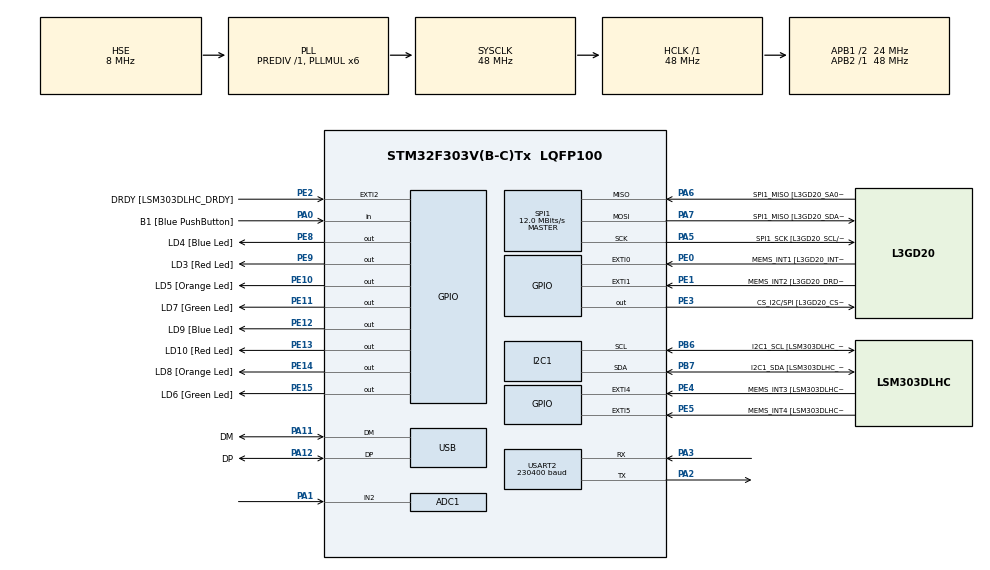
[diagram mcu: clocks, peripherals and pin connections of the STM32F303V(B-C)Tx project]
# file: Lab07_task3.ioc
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ADC1.Channel-0\#ChannelRegularConversion=ADC_CHANNEL_2
ADC1.InjNumberOfConversion=1
ADC1.InjectedChannel-1\#ChannelInjectedConversion=ADC_CHANNEL_2
ADC1.InjectedOffset-1\#ChannelInjectedConversion=0
ADC1.InjectedOffsetNumber-1\#ChannelInjectedConversion=ADC_OFFSET_NONE
ADC1.InjectedRank-1\#ChannelInjectedConversion=1
ADC1.InjectedSamplingTime-1\#ChannelInjectedConversion=ADC_SAMPLETIME_1CYCLE_5
ADC1.InjectedSamplingTimeOPAMP-1\#ChannelInjectedConversion=ADC_SAMPLETIME_19CYCLES_5
ADC1.NbrOfConversionFlag=1
ADC1.Offset-0\#ChannelRegularConversion=0
ADC1.OffsetNumber-0\#ChannelRegularConversion=ADC_OFFSET_NONE
ADC1.Rank-0\#ChannelRegularConversion=1
ADC1.Rank1_Channel=ADC_CHANNEL_2
ADC1.SamplingTime-0\#ChannelRegularConversion=ADC_SAMPLETIME_61CYCLES_5
ADC1.SamplingTimeOPAMP-0\#ChannelRegularConversion=ADC_SAMPLETIME_19CYCLES_5
ADC1.master=1
I2C1.Timing=0x2000090E
I2C1.Timing-I2C=0x2000090E
Mcu.Family=STM32F3
Mcu.Name=STM32F303V(B-C)Tx
Mcu.Package=LQFP100
NVIC.PriorityGroup=NVIC_PRIORITYGROUP_0
PA0.GPIO_Label=B1 [Blue PushButton]
PA0.Signal=GPIO_Input
PA1.Mode=IN2-Single-Ended
PA1.Signal=ADC1_IN2
PA11.GPIO_Label=DM
PA11.Mode=Device
PA11.Signal=USB_DM
PA12.GPIO_Label=DP
PA12.Mode=Device
PA12.Signal=USB_DP
PA13.GPIO_Label=SWDIO
PA13.Mode=Serial_Wire
PA13.Signal=SYS_JTMS-SWDIO
PA14.GPIO_Label=SWCLK
PA14.Mode=Serial_Wire
PA14.Signal=SYS_JTCK-SWCLK
PA2.Mode=Asynchronous
PA2.Signal=USART2_TX
PA3.Mode=Asynchronous
PA3.Signal=USART2_RX
PA5.GPIO_Label=SPI1_SCK [L3GD20_SCL/SPC]
PA5.Mode=Full_Duplex_Master
PA5.Signal=SPI1_SCK
PA6.GPIO_Label=SPI1_MISO [L3GD20_SA0/SDO]
PA6.Mode=Full_Duplex_Master
PA6.Signal=SPI1_MISO
PA7.GPIO_Label=SPI1_MISO [L3GD20_SDA/SDI/SDO]
PA7.Mode=Full_Duplex_Master
PA7.Signal=SPI1_MOSI
PB3.GPIO_Label=SWO
PB3.Signal=SYS_JTDO-TRACESWO
PB6.GPIO_Label=I2C1_SCL [LSM303DLHC_SCL]
PB6.GPIO_Pu=GPIO_PULLUP
PB6.Mode=I2C
PB6.Signal=I2C1_SCL
PB7.GPIO_Label=I2C1_SDA [LSM303DLHC_SDA]
PB7.GPIO_Pu=GPIO_PULLUP
PB7.Mode=I2C
PB7.Signal=I2C1_SDA
PC14-OSC32_IN.GPIO_Label=OSC32_IN
PC14-OSC32_IN.Signal=RCC_OSC32_IN
PC15-OSC32_OUT.GPIO_Label=OSC32_OUT
PC15-OSC32_OUT.Signal=RCC_OSC32_OUT
PE0.GPIO_Label=MEMS_INT1 [L3GD20_INT1]
PE0.GPIO_ModeDefaultEXTI=GPIO_MODE_EVT_RISING
PE0.Signal=GPXTI0
PE1.GPIO_Label=MEMS_INT2 [L3GD20_DRDY/INT2]
PE1.GPIO_ModeDefaultEXTI=GPIO_MODE_EVT_RISING
PE1.Signal=GPXTI1
PE10.GPIO_Label=LD5 [Orange Led]
PE10.Signal=GPIO_Output
PE11.GPIO_Label=LD7 [Green Led]
PE11.Signal=GPIO_Output
PE12.GPIO_Label=LD9 [Blue Led]
PE12.Signal=GPIO_Output
PE13.GPIO_Label=LD10 [Red Led]
PE13.Signal=GPIO_Output
PE14.GPIO_Label=LD8 [Orange Led]
PE14.Signal=GPIO_Output
PE15.GPIO_Label=LD6 [Green Led]
PE15.Signal=GPIO_Output
PE2.GPIO_Label=DRDY [LSM303DLHC_DRDY]
PE2.GPIO_ModeDefaultEXTI=GPIO_MODE_EVT_RISING
PE2.Signal=GPXTI2
PE3.GPIO_Label=CS_I2C/SPI [L3GD20_CS_I2C/SPI]
PE3.Signal=GPIO_Output
PE4.GPIO_Label=MEMS_INT3 [LSM303DLHC_INT1]
PE4.GPIO_ModeDefaultEXTI=GPIO_MODE_EVT_RISING
PE4.Signal=GPXTI4
PE5.GPIO_Label=MEMS_INT4 [LSM303DLHC_INT2]
PE5.GPIO_ModeDefaultEXTI=GPIO_MODE_EVT_RISING
PE5.Signal=GPXTI5
PE8.GPIO_Label=LD4 [Blue Led]
PE8.Signal=GPIO_Output
PE9.GPIO_Label=LD3 [Red Led]
PE9.Signal=GPIO_Output
PF0-OSC_IN.GPIO_Label=OSC_IN
PF0-OSC_IN.Mode=HSE-External-Clock-Source
PF0-OSC_IN.Signal=RCC_OSC_IN
PF1-OSC_OUT.GPIO_Label=OSC_OUT
PF1-OSC_OUT.Signal=RCC_OSC_OUT
ProjectManager.HeapSize=0x200
ProjectManager.StackSize=0x400
ProjectManager.TargetToolchain=CMake
RCC.AHBFreq_Value=48000000
RCC.APB1CLKDivider=RCC_HCLK_DIV2
RCC.APB1Freq_Value=24000000
RCC.APB1TimFreq_Value=48000000
RCC.APB2Freq_Value=48000000
RCC.APB2TimFreq_Value=48000000
RCC.CortexFreq_Value=48000000
RCC.HCLKFreq_Value=48000000
RCC.HSE_VALUE=8000000
RCC.HSI_VALUE=8000000
RCC.LSE_VALUE=32768
RCC.PLLMUL=RCC_PLL_MUL6
RCC.SYSCLKFreq_VALUE=48000000
RCC.SYSCLKSourceVirtual=RCC_SYSCLKSOURCE_PLLCLK
RCC.USBFreq_Value=48000000
SPI1.BaudRatePrescaler=SPI_BAUDRATEPRESCALER_4
SPI1.BaudRatePrescaler-Full_Duplex_Master=SPI_BAUDRATEPRESCALER_2
SPI1.CalculateBaudRate=12.0 MBits/s
SPI1.CalculateBaudRate-Full_Duplex_Master=24.0 MBits/s
SPI1.Direction=SPI_DIRECTION_2LINES
SPI1.Mode=SPI_MODE_MASTER
SPI1.Mode-Full_Duplex_Master=SPI_MODE_MASTER
SPI1.VirtualType=VM_MASTER
USART2.BaudRate=230400
USART2.VirtualMode-Asynchronous=VM_ASYNC
board=STM32F3DISCOVERY

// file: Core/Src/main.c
/* USER CODE BEGIN Header */
/**
  ******************************************************************************
  * @file           : main.c
  * @brief          : Main program body
  ******************************************************************************
  * @attention
  *
  * Copyright (c) 2026 STMicroelectronics.
  * All rights reserved.
  *
  * This software is licensed under terms that can be found in the LICENSE file
  * in the root directory of this software component.
  * If no LICENSE file comes with this software, it is provided AS-IS.
  *
  ******************************************************************************
  */
/* USER CODE END Header */
#include "main.h"

/* USER CODE BEGIN Includes */
#include <stdarg.h>
#include <stdio.h>
#include <string.h>
#include <math.h>
/* USER CODE END Includes */

/* USER CODE BEGIN PD */
#define NUM_SAMPLES 8
/* USER CODE END PD */

ADC_HandleTypeDef hadc1;

I2C_HandleTypeDef hi2c1;

SPI_HandleTypeDef hspi1;

UART_HandleTypeDef huart2;

PCD_HandleTypeDef hpcd_USB_FS;

/* USER CODE BEGIN PV */
uint32_t adc_val = 0;
/* USER CODE END PV */

void SystemClock_Config(void);
static void MX_GPIO_Init(void);
static void MX_ADC1_Init(void);
static void MX_I2C1_Init(void);
static void MX_SPI1_Init(void);
static void MX_USART2_UART_Init(void);
static void MX_USB_PCD_Init(void);

/* USER CODE BEGIN 0 */

void myPrintf(const char *fmt, ...)
{
    char buffer[100];
    va_list args;
    va_start(args, fmt);
    vsnprintf(buffer, sizeof(buffer), fmt, args);
    va_end(args);
    HAL_UART_Transmit(&huart2, (uint8_t *)buffer, strlen(buffer), HAL_MAX_DELAY);
}

/* Same polling read as Task 1 */
uint32_t ADC_ReadPolling(void)
{
    HAL_ADC_Start(&hadc1);
    HAL_ADC_PollForConversion(&hadc1, HAL_MAX_DELAY);
    uint32_t val = HAL_ADC_GetValue(&hadc1);
    HAL_ADC_Stop(&hadc1);
    return val;
}

uint32_t ADC_ToMilliVolts(uint32_t raw)
{
    return (raw * 3300) / 4095;
}

/* Average several readings to reduce sensor noise (returns raw ADC counts) */
uint32_t ADC_ReadAveraged(void)
{
    uint32_t sum = 0;
    for (int i = 0; i < NUM_SAMPLES; i++)
    {
        sum += ADC_ReadPolling();
    }
    return sum / NUM_SAMPLES;
}

/* Sharp GP2Y0A02YK0F: approximate distance in cm from sensor voltage in volts.
 * Returns a negative value when out of range (about >150 cm / no object). */
float Sensor_VoltageToCm(float volts)
{
    if (volts < 0.4f)
    {
        return -1.0f;
    }
    return 60.374f * powf(volts, -1.16f);
}

/* USER CODE END 0 */

int main(void)
{

  /* MCU Configuration--------------------------------------------------------*/

  /* Reset of all peripherals, Initializes the Flash interface and the Systick. */
  HAL_Init();

  /* Configure the system clock */
  SystemClock_Config();

  /* Initialize all configured peripherals */
  MX_GPIO_Init();
  MX_ADC1_Init();
  MX_I2C1_Init();
  MX_SPI1_Init();
  MX_USART2_UART_Init();
  MX_USB_PCD_Init();
  /* USER CODE BEGIN 2 */
  HAL_ADCEx_Calibration_Start(&hadc1, ADC_SINGLE_ENDED);
  myPrintf("Lab 7 started\r\n");
  /* USER CODE END 2 */

  /* Infinite loop */
  while (1)
  {

    /* USER CODE BEGIN 3 */
    adc_val = ADC_ReadAveraged();
    uint32_t mv = ADC_ToMilliVolts(adc_val);
    float dist_cm = Sensor_VoltageToCm((float)mv / 1000.0f);

    if (dist_cm < 0.0f)
    {
        myPrintf("ADC: %lu  Voltage: %lu mV  Out of range\r\n", adc_val, mv);
    }
    else
    {
        myPrintf("ADC: %lu  Voltage: %lu mV  Distance: %lu mm\r\n",
                 adc_val, mv, (uint32_t)(dist_cm * 10.0f));
    }
    HAL_Delay(100);
  }
  /* USER CODE END 3 */
}

void SystemClock_Config(void)
{
  RCC_OscInitTypeDef RCC_OscInitStruct = {0};
  RCC_ClkInitTypeDef RCC_ClkInitStruct = {0};
  RCC_PeriphCLKInitTypeDef PeriphClkInit = {0};

  /** Initializes the RCC Oscillators according to the specified parameters
  * in the RCC_OscInitTypeDef structure.
  */
  RCC_OscInitStruct.OscillatorType = RCC_OSCILLATORTYPE_HSI|RCC_OSCILLATORTYPE_HSE;
  RCC_OscInitStruct.HSEState = RCC_HSE_BYPASS;
  RCC_OscInitStruct.HSEPredivValue = RCC_HSE_PREDIV_DIV1;
  RCC_OscInitStruct.HSIState = RCC_HSI_ON;
  RCC_OscInitStruct.HSICalibrationValue = RCC_HSICALIBRATION_DEFAULT;
  RCC_OscInitStruct.PLL.PLLState = RCC_PLL_ON;
  RCC_OscInitStruct.PLL.PLLSource = RCC_PLLSOURCE_HSE;
  RCC_OscInitStruct.PLL.PLLMUL = RCC_PLL_MUL6;
  if (HAL_RCC_OscConfig(&RCC_OscInitStruct) != HAL_OK)
  {
    Error_Handler();
  }

  /** Initializes the CPU, AHB and APB buses clocks
  */
  RCC_ClkInitStruct.ClockType = RCC_CLOCKTYPE_HCLK|RCC_CLOCKTYPE_SYSCLK
                              |RCC_CLOCKTYPE_PCLK1|RCC_CLOCKTYPE_PCLK2;
  RCC_ClkInitStruct.SYSCLKSource = RCC_SYSCLKSOURCE_PLLCLK;
  RCC_ClkInitStruct.AHBCLKDivider = RCC_SYSCLK_DIV1;
  RCC_ClkInitStruct.APB1CLKDivider = RCC_HCLK_DIV2;
  RCC_ClkInitStruct.APB2CLKDivider = RCC_HCLK_DIV1;

  if (HAL_RCC_ClockConfig(&RCC_ClkInitStruct, FLASH_LATENCY_1) != HAL_OK)
  {
    Error_Handler();
  }
  PeriphClkInit.PeriphClockSelection = RCC_PERIPHCLK_USB|RCC_PERIPHCLK_USART2
                              |RCC_PERIPHCLK_I2C1|RCC_PERIPHCLK_ADC12;
  PeriphClkInit.Usart2ClockSelection = RCC_USART2CLKSOURCE_PCLK1;
  PeriphClkInit.Adc12ClockSelection = RCC_ADC12PLLCLK_DIV1;
  PeriphClkInit.I2c1ClockSelection = RCC_I2C1CLKSOURCE_HSI;
  PeriphClkInit.USBClockSelection = RCC_USBCLKSOURCE_PLL;
  if (HAL_RCCEx_PeriphCLKConfig(&PeriphClkInit) != HAL_OK)
  {
    Error_Handler();
  }
}

static void MX_ADC1_Init(void)
{

  ADC_MultiModeTypeDef multimode = {0};
  ADC_ChannelConfTypeDef sConfig = {0};
  ADC_InjectionConfTypeDef sConfigInjected = {0};

  /** Common config
  */
  hadc1.Instance = ADC1;
  hadc1.Init.ClockPrescaler = ADC_CLOCK_ASYNC_DIV1;
  hadc1.Init.Resolution = ADC_RESOLUTION_12B;
  hadc1.Init.ScanConvMode = ADC_SCAN_DISABLE;
  hadc1.Init.ContinuousConvMode = DISABLE;
  hadc1.Init.DiscontinuousConvMode = DISABLE;
  hadc1.Init.ExternalTrigConvEdge = ADC_EXTERNALTRIGCONVEDGE_NONE;
  hadc1.Init.ExternalTrigConv = ADC_SOFTWARE_START;
  hadc1.Init.DataAlign = ADC_DATAALIGN_RIGHT;
  hadc1.Init.NbrOfConversion = 1;
  hadc1.Init.DMAContinuousRequests = DISABLE;
  hadc1.Init.EOCSelection = ADC_EOC_SINGLE_CONV;
  hadc1.Init.LowPowerAutoWait = DISABLE;
  hadc1.Init.Overrun = ADC_OVR_DATA_OVERWRITTEN;
  if (HAL_ADC_Init(&hadc1) != HAL_OK)
  {
    Error_Handler();
  }

  /** Configure the ADC multi-mode
  */
  multimode.Mode = ADC_MODE_INDEPENDENT;
  if (HAL_ADCEx_MultiModeConfigChannel(&hadc1, &multimode) != HAL_OK)
  {
    Error_Handler();
  }

  /** Configure Regular Channel
  */
  sConfig.Channel = ADC_CHANNEL_2;
  sConfig.Rank = ADC_REGULAR_RANK_1;
  sConfig.SingleDiff = ADC_SINGLE_ENDED;
  sConfig.SamplingTime = ADC_SAMPLETIME_61CYCLES_5;
  sConfig.OffsetNumber = ADC_OFFSET_NONE;
  sConfig.Offset = 0;
  if (HAL_ADC_ConfigChannel(&hadc1, &sConfig) != HAL_OK)
  {
    Error_Handler();
  }

  /** Configure Injected Channel
  */
  sConfigInjected.InjectedChannel = ADC_CHANNEL_2;
  sConfigInjected.InjectedRank = ADC_INJECTED_RANK_1;
  sConfigInjected.InjectedSingleDiff = ADC_SINGLE_ENDED;
  sConfigInjected.InjectedNbrOfConversion = 1;
  sConfigInjected.InjectedSamplingTime = ADC_SAMPLETIME_1CYCLE_5;
  sConfigInjected.ExternalTrigInjecConvEdge = ADC_EXTERNALTRIGINJECCONV_EDGE_RISING;
  sConfigInjected.ExternalTrigInjecConv = ADC_INJECTED_SOFTWARE_START;
  sConfigInjected.AutoInjectedConv = DISABLE;
  sConfigInjected.InjectedDiscontinuousConvMode = DISABLE;
  sConfigInjected.QueueInjectedContext = DISABLE;
  sConfigInjected.InjectedOffset = 0;
  sConfigInjected.InjectedOffsetNumber = ADC_OFFSET_NONE;
  if (HAL_ADCEx_InjectedConfigChannel(&hadc1, &sConfigInjected) != HAL_OK)
  {
    Error_Handler();
  }

}

static void MX_I2C1_Init(void)
{

  hi2c1.Instance = I2C1;
  hi2c1.Init.Timing = 0x2000090E;
  hi2c1.Init.OwnAddress1 = 0;
  hi2c1.Init.AddressingMode = I2C_ADDRESSINGMODE_7BIT;
  hi2c1.Init.DualAddressMode = I2C_DUALADDRESS_DISABLE;
  hi2c1.Init.OwnAddress2 = 0;
  hi2c1.Init.OwnAddress2Masks = I2C_OA2_NOMASK;
  hi2c1.Init.GeneralCallMode = I2C_GENERALCALL_DISABLE;
  hi2c1.Init.NoStretchMode = I2C_NOSTRETCH_DISABLE;
  if (HAL_I2C_Init(&hi2c1) != HAL_OK)
  {
    Error_Handler();
  }

  /** Configure Analogue filter
  */
  if (HAL_I2CEx_ConfigAnalogFilter(&hi2c1, I2C_ANALOGFILTER_ENABLE) != HAL_OK)
  {
    Error_Handler();
  }

  /** Configure Digital filter
  */
  if (HAL_I2CEx_ConfigDigitalFilter(&hi2c1, 0) != HAL_OK)
  {
    Error_Handler();
  }

}

static void MX_SPI1_Init(void)
{

  /* SPI1 parameter configuration*/
  hspi1.Instance = SPI1;
  hspi1.Init.Mode = SPI_MODE_MASTER;
  hspi1.Init.Direction = SPI_DIRECTION_2LINES;
  hspi1.Init.DataSize = SPI_DATASIZE_4BIT;
  hspi1.Init.CLKPolarity = SPI_POLARITY_LOW;
  hspi1.Init.CLKPhase = SPI_PHASE_1EDGE;
  hspi1.Init.NSS = SPI_NSS_SOFT;
  hspi1.Init.BaudRatePrescaler = SPI_BAUDRATEPRESCALER_4;
  hspi1.Init.FirstBit = SPI_FIRSTBIT_MSB;
  hspi1.Init.TIMode = SPI_TIMODE_DISABLE;
  hspi1.Init.CRCCalculation = SPI_CRCCALCULATION_DISABLE;
  hspi1.Init.CRCPolynomial = 7;
  hspi1.Init.CRCLength = SPI_CRC_LENGTH_DATASIZE;
  hspi1.Init.NSSPMode = SPI_NSS_PULSE_ENABLE;
  if (HAL_SPI_Init(&hspi1) != HAL_OK)
  {
    Error_Handler();
  }

}

static void MX_USART2_UART_Init(void)
{

  huart2.Instance = USART2;
  huart2.Init.BaudRate = 230400;
  huart2.Init.WordLength = UART_WORDLENGTH_8B;
  huart2.Init.StopBits = UART_STOPBITS_1;
  huart2.Init.Parity = UART_PARITY_NONE;
  huart2.Init.Mode = UART_MODE_TX_RX;
  huart2.Init.HwFlowCtl = UART_HWCONTROL_NONE;
  huart2.Init.OverSampling = UART_OVERSAMPLING_16;
  huart2.Init.OneBitSampling = UART_ONE_BIT_SAMPLE_DISABLE;
  huart2.AdvancedInit.AdvFeatureInit = UART_ADVFEATURE_NO_INIT;
  if (HAL_UART_Init(&huart2) != HAL_OK)
  {
    Error_Handler();
  }

}

static void MX_USB_PCD_Init(void)
{

  hpcd_USB_FS.Instance = USB;
  hpcd_USB_FS.Init.dev_endpoints = 8;
  hpcd_USB_FS.Init.speed = PCD_SPEED_FULL;
  hpcd_USB_FS.Init.phy_itface = PCD_PHY_EMBEDDED;
  hpcd_USB_FS.Init.low_power_enable = DISABLE;
  hpcd_USB_FS.Init.battery_charging_enable = DISABLE;
  if (HAL_PCD_Init(&hpcd_USB_FS) != HAL_OK)
  {
    Error_Handler();
  }

}

static void MX_GPIO_Init(void)
{
  GPIO_InitTypeDef GPIO_InitStruct = {0};

  /* GPIO Ports Clock Enable */
  __HAL_RCC_GPIOE_CLK_ENABLE();
  __HAL_RCC_GPIOC_CLK_ENABLE();
  __HAL_RCC_GPIOF_CLK_ENABLE();
  __HAL_RCC_GPIOA_CLK_ENABLE();
  __HAL_RCC_GPIOB_CLK_ENABLE();

  /*Configure GPIO pin Output Level */
  HAL_GPIO_WritePin(GPIOE, CS_I2C_SPI_Pin|LD4_Pin|LD3_Pin|LD5_Pin
                          |LD7_Pin|LD9_Pin|LD10_Pin|LD8_Pin
                          |LD6_Pin, GPIO_PIN_RESET);

  /*Configure GPIO pins : DRDY_Pin MEMS_INT3_Pin MEMS_INT4_Pin MEMS_INT1_Pin
                           MEMS_INT2_Pin */
  GPIO_InitStruct.Pin = DRDY_Pin|MEMS_INT3_Pin|MEMS_INT4_Pin|MEMS_INT1_Pin
                          |MEMS_INT2_Pin;
  GPIO_InitStruct.Mode = GPIO_MODE_EVT_RISING;
  GPIO_InitStruct.Pull = GPIO_NOPULL;
  HAL_GPIO_Init(GPIOE, &GPIO_InitStruct);

  /*Configure GPIO pins : CS_I2C_SPI_Pin LD4_Pin LD3_Pin LD5_Pin
                           LD7_Pin LD9_Pin LD10_Pin LD8_Pin
                           LD6_Pin */
  GPIO_InitStruct.Pin = CS_I2C_SPI_Pin|LD4_Pin|LD3_Pin|LD5_Pin
                          |LD7_Pin|LD9_Pin|LD10_Pin|LD8_Pin
                          |LD6_Pin;
  GPIO_InitStruct.Mode = GPIO_MODE_OUTPUT_PP;
  GPIO_InitStruct.Pull = GPIO_NOPULL;
  GPIO_InitStruct.Speed = GPIO_SPEED_FREQ_LOW;
  HAL_GPIO_Init(GPIOE, &GPIO_InitStruct);

  /*Configure GPIO pin : B1_Pin */
  GPIO_InitStruct.Pin = B1_Pin;
  GPIO_InitStruct.Mode = GPIO_MODE_INPUT;
  GPIO_InitStruct.Pull = GPIO_NOPULL;
  HAL_GPIO_Init(B1_GPIO_Port, &GPIO_InitStruct);

}

void Error_Handler(void)
{
  __disable_irq();
  while (1)
  {
  }
}
